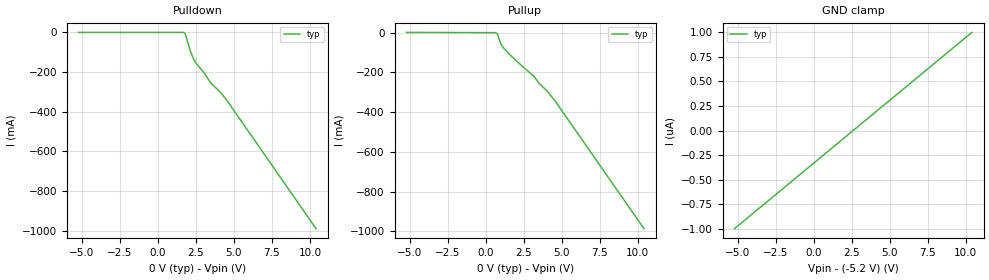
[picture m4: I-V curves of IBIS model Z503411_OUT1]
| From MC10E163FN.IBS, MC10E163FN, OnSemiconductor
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| (C) COPYRIGHT 1993-2000
| MENTOR GRAPHICS CORPORATION
| ICX STANDARD LIBRARY, ICX PROJECT MODELING,
| ICX CUSTOM MODELING, ICX VENDOR MODEL
| ALL RIGHTS RESERVED.
| THE FOLLOWING ARE TRADEMARKS OR SERVICE MARKS OF
| MENTOR GRAPHICS CORPORATION:ICX (R), ICX STANDARD
| LIBRARY(R), ICX PROJECT MODELING(R), ICX CUSTOM
| MODELING(R), qualityIBIS(TM), MODELVIEWER(TM),
| AND MODELEDITOR(TM)
| ALL COPIES OF SOFTWARE, INCLUDING BUT NOT LIMITED TO
| ANY MODIFICATIONS, ENHANCEMENTS OR DERIVATIVE WORKS,
| MUST CONTAIN ALL MENTOR GRAPHICS CORPORATION'S
| NOTICES AND LEGENDS, INCLUDING THOSE EMBEDDED IN
| SOFTWARE AND THOSE AFFIXED TO SOFTWARE MEDIUM
| AND CONTAINER, AS RECEIVED FROM MENTOR GRAPHICS
| CORPORATION.
| Model Application Version 1.89 2/18/99.
[Model] Z503411_OUT1
Model_type Output_ECL
Vref=-2.000V
Rref=50.00ohms
Cref=0.000F
Vmeas=-1.305V
C_comp 8.000pF NA NA
| variable typ   min   max
[Voltage Range] -5.200V NA NA
[POWER Clamp Reference] 0.000V NA NA
[Pullup Reference] 0.000V NA NA
[Pulldown Reference] 0.000V NA NA
[GND Clamp Reference] -5.200V NA NA
[GND Clamp]
-5.2V     -1uA       NA         NA
10.4V     1uA        NA         NA
[Pulldown]
-5.2V     38.25uA    NA         NA
1.739V    -1.675mA   NA         NA
1.846V    -15.78mA   NA         NA
2.09V     -81.93mA   NA         NA
2.188V    -104mA     NA         NA
2.354V    -134.3mA   NA         NA
2.495V    -153.1mA   NA         NA
3.095V    -209.1mA   NA         NA
3.517V    -258mA     NA         NA
3.984V    -291.8mA   NA         NA
4.564V    -345.4mA   NA         NA
10.4V     -989.5mA   NA         NA
[Pullup]
-5.2V     1.243mA    NA         NA
725.4mV   -2.993mA   NA         NA
810.4mV   -15.32mA   NA         NA
1.016V    -60.71mA   NA         NA
1.197V    -79.22mA   NA         NA
2.026V    -143mA     NA         NA
3.144V    -217.6mA   NA         NA
3.519V    -256.7mA   NA         NA
4.004V    -291.1mA   NA         NA
4.565V    -344.6mA   NA         NA
10.4V     -986.8mA   NA         NA
[POWER Clamp]
-5.2V     0A         NA         NA
10.4V     0A         NA         NA
[Ramp]
| variable typ min max
dV/dt_r 593.6m/310.9p NA NA
dV/dt_f 593.6m/324.6p NA NA
R_load = 500.0Ohms
